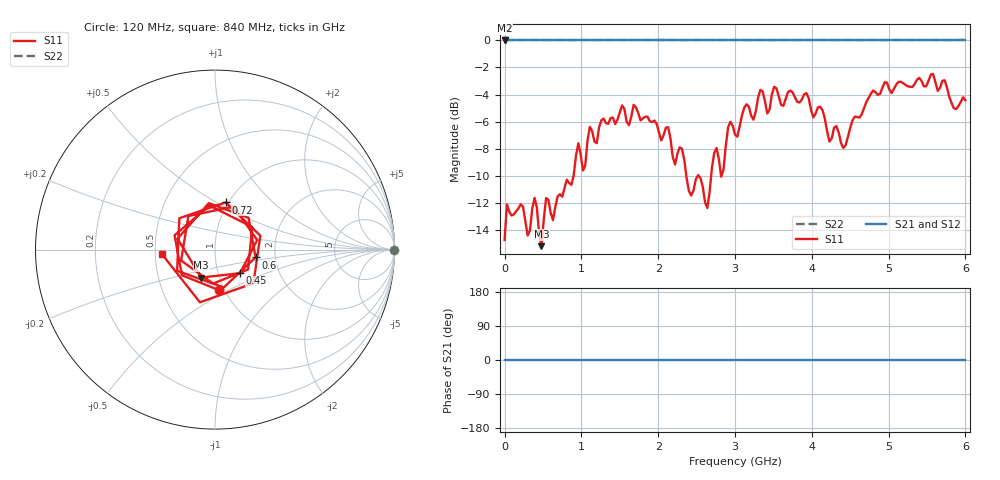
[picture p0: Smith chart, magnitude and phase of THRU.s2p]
!Keysight Technologies N9916A: A.08.06
!Date: Thursday, 30 May 2024 20:11:57
!Timezone: (GMT+10:00) Brisbane
!Model: N9916A
!Serial: MY53102361
!GPS Latitude:
!GPS Longitude:
!GPS TimeStamp: 0001-01-01 00:00:00Z
!GPS Seconds Since Last Read: 0
!CHECKSUM:1621865029
!Correction: S11(Rdy)S21()S12()S22()
!S2P File: Measurements:S11,S21,S12,S22:
# Hz S RI R 50
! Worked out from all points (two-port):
!   201 points, 30 kHz to 6 GHz, reference 50 ohm
!   highest |S21| = 0.00 dB at 30 kHz (marker M1); lowest = 0.0 dB at 30 kHz (marker M2)
!   |S21| within 3 dB of the highest: start of sweep to end of sweep
!   lowest |S11| = -15.2 dB at 480 MHz (marker M3), VSWR 1.42, Z = 41 - j13.1 ohm
!   |S11| at or under -10 dB: start of sweep to 898.7 MHz; 2.366 GHz to 2.517 GHz (151.1 MHz wide, 6.19 % of centre); 2.525 GHz to 2.69 GHz (165.4 MHz wide, 6.34 % of centre)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
!   |S22| runs from 0.0 to 0.0 dB; largest |S21 - S12| = 0
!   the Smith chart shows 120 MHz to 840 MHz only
!   S11 on the Smith chart (normalised r, x): 120 MHz: 0.94, -0.45; 450 MHz: 1.27, -0.35; 600 MHz: 1.58, -0.14; 720 MHz: 0.97, +0.55; 840 MHz: 0.54, -0.03
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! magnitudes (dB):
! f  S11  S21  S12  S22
! 30 kHz  -14.8  0.0  0.0  0.0
! 120 MHz  -12.9  0.0  0.0  0.0
! 300 MHz  -14.4  0.0  0.0  0.0
! 390 MHz  -11.7  0.0  0.0  0.0
! 450 MHz  -14.3  0.0  0.0  0.0
! 480 MHz  -15.2  0.0  0.0  0.0
! 540 MHz  -11.7  0.0  0.0  0.0
! 600 MHz  -12.8  0.0  0.0  0.0
! 720 MHz  -11.4  0.0  0.0  0.0
! 840 MHz  -10.5  0.0  0.0  0.0
! 1.02 GHz  -9.6  0.0  0.0  0.0
! 1.11 GHz  -6.4  0.0  0.0  0.0
! 1.53 GHz  -4.8  0.0  0.0  0.0
! 2.01 GHz  -6.8  0.0  0.0  0.0
! 2.64 GHz  -12.4  0.0  0.0  0.0
! 2.73 GHz  -8.3  0.0  0.0  0.0
! 3 GHz  -7.0  0.0  0.0  0.0
! 3.51 GHz  -3.4  0.0  0.0  0.0
! 4.02 GHz  -5.7  0.0  0.0  0.0
! 4.41 GHz  -8.0  0.0  0.0  0.0
! 5.01 GHz  -3.6  0.0  0.0  0.0
! 6 GHz  -4.4  0.0  0.0  0.0
